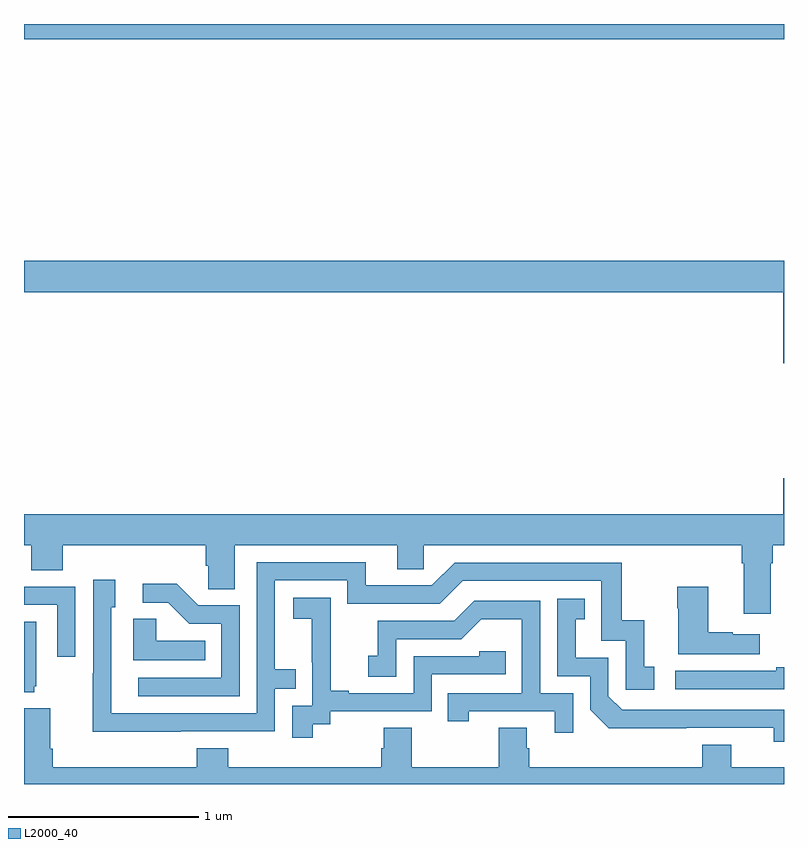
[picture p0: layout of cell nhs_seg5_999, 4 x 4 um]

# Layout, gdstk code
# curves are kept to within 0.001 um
import gdstk
lib = gdstk.Library(unit=1e-6, precision=1e-09)
def R(c, l, rs):  # rectangles x0, y0, x1, y1
    for r in rs: c.add(gdstk.rectangle(r[:2], r[2:], *l))
def P(c, l, *ps):  # polygons
    for p in ps: c.add(gdstk.Polygon(p, *l))
L2000_40 = (2000, 40)

nhs_seg5_999 = lib.new_cell('nhs_seg5_999')
R(nhs_seg5_999, L2000_40, [(173,896.72,177,896.799)])
P(nhs_seg5_999, L2000_40, [(177,895.552),(173,895.552),(173,895.388),(176.996,895.388),(176.996,895.014),(177,895.014)],
  [(173,894.056),(173.039,894.056),(173.039,893.923),(173.204,893.923),(173.204,894.056),(173.957,894.056),(173.957,893.947),(173.97,893.947),(173.97,893.824),(174.109,893.824),(174.109,894.056),(174.965,894.056),(174.965,893.929),(175.104,893.929),(175.104,894.056),(176.777,894.056),(176.777,893.96),(176.789,893.96),(176.789,893.694),(176.929,893.694),(176.929,893.96),(176.942,893.96),(176.942,894.056),(177,894.056),(177,894.409),(176.996,894.409),(176.996,894.22),(173,894.22)],
  [(173.825,893.076),(174.321,893.076),(174.321,893.301),(174.431,893.301),(174.431,893.402),(174.321,893.402),(174.321,893.871),(174.702,893.871),(174.702,893.748),(175.188,893.748),(175.308,893.868),(176.037,893.868),(176.037,893.553),(176.166,893.553),(176.166,893.295),(176.317,893.295),(176.317,893.415),(176.264,893.415),(176.264,893.662),(176.146,893.662),(176.146,893.964),(175.266,893.964),(175.146,893.844),(174.799,893.844),(174.799,893.967),(174.225,893.967),(174.225,893.172),(173.46,893.172),(173.46,893.73),(173.479,893.73),(173.479,893.875),(173.364,893.875),(173.364,893.381),(173.362,893.381),(173.362,893.075)],
  [(174.135,893.739),(173.916,893.739),(173.803,893.852),(173.625,893.852),(173.625,893.754),(173.759,893.754),(173.87,893.643),(174.039,893.643),(174.039,893.358),(173.601,893.358),(173.601,893.262),(174.135,893.262)],
  [(173.271,893.838),(173,893.838),(173,893.742),(173.175,893.742),(173.175,893.469),(173.271,893.469)],
  [(176.872,893.587),(176.729,893.587),(176.729,893.597),(176.602,893.597),(176.602,893.836),(176.437,893.836),(176.437,893.723),(176.444,893.723),(176.444,893.483),(176.872,893.483)],
  [(174.52,893.113),(174.612,893.113),(174.612,893.181),(175.146,893.181),(175.146,893.376),(175.535,893.376),(175.535,893.499),(175.395,893.499),(175.395,893.472),(175.05,893.472),(175.05,893.277),(174.709,893.277),(174.709,893.29),(174.614,893.29),(174.614,893.573),(174.615,893.573),(174.615,893.779),(174.417,893.779),(174.417,893.669),(174.515,893.669),(174.515,893.441),(174.516,893.441),(174.516,893.211),(174.411,893.211),(174.411,893.043),(174.52,893.043)],
  [(177,893.19),(176.148,893.19),(176.076,893.262),(176.076,893.463),(175.903,893.463),(175.903,893.667),(175.952,893.667),(175.952,893.773),(175.806,893.773),(175.806,893.367),(175.98,893.367),(175.98,893.19),(176.078,893.093),(176.946,893.094),(176.946,893.021),(177,893.021)],
  [(175.89,893.277),(175.716,893.277),(175.716,893.763),(175.37,893.763),(175.265,893.658),(174.862,893.658),(174.862,893.473),(174.813,893.473),(174.813,893.364),(174.96,893.364),(174.96,893.562),(175.302,893.562),(175.406,893.666),(175.62,893.666),(175.62,893.277),(175.231,893.277),(175.231,893.13),(175.342,893.13),(175.342,893.181),(175.793,893.181),(175.793,893.07),(175.89,893.07)],
  [(173.954,893.554),(173.697,893.554),(173.697,893.669),(173.576,893.669),(173.576,893.45),(173.954,893.45)],
  [(173.054,893.313),(173.065,893.313),(173.065,893.653),(173,893.653),(173,893.282),(173.054,893.282)],
  [(177,893.414),(176.959,893.414),(176.959,893.394),(176.427,893.394),(176.427,893.298),(177,893.298)],
  [(177,892.888),(176.722,892.888),(176.722,893.005),(176.57,893.005),(176.57,892.888),(175.658,892.888),(175.658,892.986),(175.645,892.986),(175.645,893.096),(175.498,893.096),(175.498,892.888),(175.041,892.888),(175.041,893.096),(174.893,893.096),(174.893,892.986),(174.881,892.986),(174.881,892.888),(174.074,892.888),(174.074,892.987),(173.909,892.987),(173.909,892.888),(173.15,892.888),(173.15,892.984),(173.137,892.984),(173.137,893.197),(173,893.197),(173,892.799),(177,892.799)])

lib.write_gds('nhs_seg5_999.gds')
